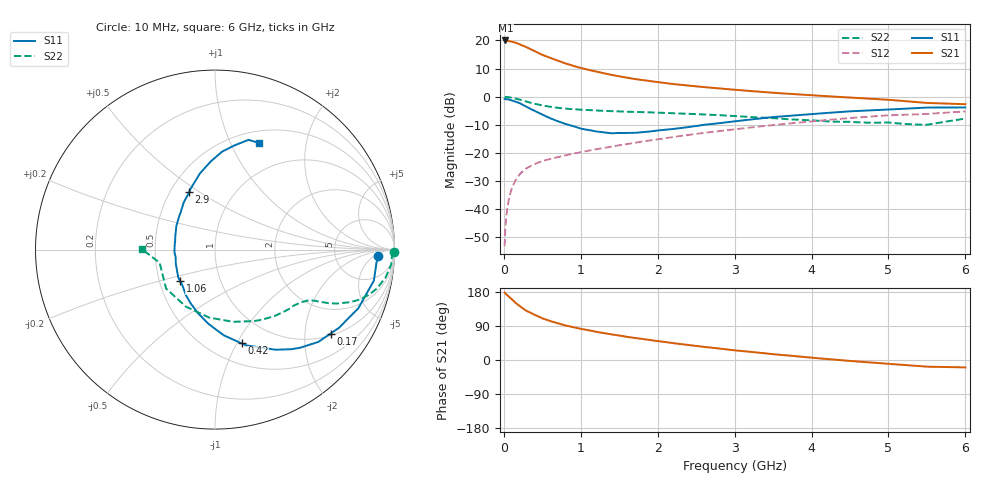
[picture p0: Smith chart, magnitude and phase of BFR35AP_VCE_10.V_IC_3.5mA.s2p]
! Infineon Technologies  Discrete & RF Semiconductors
! BFR35AP
! VCE =  10. V,  IC =  3.5 mA
! Common Emitter S-Parameters:  Nov 2015
# GHz  S  MA  R  50
!  f  S11  S21  S12  S22
! GHz  MAG  ANG  MAG  ANG  MAG  ANG  MAG  ANG
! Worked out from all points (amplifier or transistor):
!   210 points, 10 MHz to 6 GHz, reference 50 ohm
!   highest |S21| = 20.0 dB at 20 MHz (marker M1)
!   |S21| within 3 dB of that: start of sweep to 339.7 MHz
!   unconditionally stable (mu >= 1): 991.7 MHz to 3.136 GHz
!   at 185 MHz: K = 0.28, MSG = 23.6 dB, |S12| = -28.4 dB
!   at 1.52 GHz: K = 1.11, MAG = 10.2 dB, |S12| = -17.2 dB
!   at 6 GHz: K = 0.89, MSG = 1.3 dB, |S12| = -5.3 dB
!   S11 on the Smith chart (normalised r, x): 10 MHz: 18, -7; 170 MHz: 1.06, -2.71; 420 MHz: 0.71, -1.05; 1.06 GHz: 0.64, -0.24; 2.9 GHz: 0.62, +0.45; 6 GHz: 0.64, +1.29
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0.01  0.9101 -2.1  9.899 177.9  0.0022 86.7  0.9968 -0.9
0.02  0.9027 -4.6  9.966 175.6  0.0047 85.3  0.9867 -1.9
0.05  0.9019 -11.1  9.789 170.1  0.0115 82.3  0.9854 -4.9
0.1  0.8631 -22.2  9.534 160.9  0.0226 77.7  0.9624 -9.4
0.15  0.8165 -32.3  9.148 151.0  0.032 72.1  0.927 -13.6
0.17  0.7961 -36.0  8.903 148.0  0.0355 70.3  0.912 -14.8
0.24  0.7246 -48.9  8.155 137.2  0.0463 64.6  0.8577 -18.7
0.3  0.6523 -58.8  7.508 129.0  0.0539 61.3  0.8091 -21.2
0.42  0.5433 -74.1  6.237 117.6  0.0649 57.1  0.7359 -24.1
0.5  0.4805 -84.1  5.527 110.0  0.0715 55.5  0.6983 -25.3
0.6  0.4144 -95.2  4.9 102.8  0.078 54.4  0.6613 -26.2
0.7  0.3662 -105.1  4.367 96.6  0.0839 54.5  0.6332 -26.9
0.8  0.3277 -114.7  3.899 91.2  0.0902 54.2  0.6122 -27.6
1.02  0.2671 -134.1  3.185 81.6  0.1044 54.9  0.5843 -29.2
1.06  0.2611 -138.3  3.089 80.0  0.1069 55.0  0.5799 -29.7
1.4  0.2233 -168.6  2.433 67.5  0.1294 56.1  0.5525 -33.0
2.02  0.2519 148.7  1.798 49.4  0.1763 55.9  0.5184 -41.5
2.9  0.3509 114.3  1.363 28.0  0.2543 51.6  0.4611 -58.9
3.1  0.3776 109.4  1.292 23.7  0.2735 49.9  0.444 -64.0
4.1  0.502 91.3  1.039 4.3  0.3737 39.9  0.3714 -98.9
5.1  0.5993 78.1  0.857 -11.6  0.4706 26.1  0.3371 -146.1
6  0.6429 67.6  0.734 -19.5  0.546 14.9  0.4085 179.5
